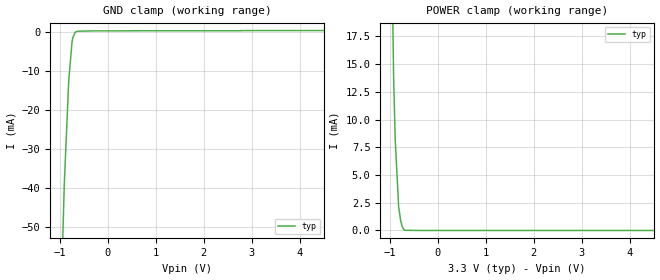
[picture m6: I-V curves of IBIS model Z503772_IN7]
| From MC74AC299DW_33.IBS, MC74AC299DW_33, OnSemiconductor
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| (C) COPYRIGHT 1993-2000
| MENTOR GRAPHICS CORPORATION
| ICX STANDARD LIBRARY, ICX PROJECT MODELING,
| ICX CUSTOM MODELING, ICX VENDOR MODEL
| ALL RIGHTS RESERVED.
| THE FOLLOWING ARE TRADEMARKS OR SERVICE MARKS OF
| MENTOR GRAPHICS CORPORATION:ICX (R), ICX STANDARD
| LIBRARY(R), ICX PROJECT MODELING(R), ICX CUSTOM
| MODELING(R), qualityIBIS(TM), MODELVIEWER(TM),
| AND MODELEDITOR(TM)
| ALL COPIES OF SOFTWARE, INCLUDING BUT NOT LIMITED TO
| ANY MODIFICATIONS, ENHANCEMENTS OR DERIVATIVE WORKS,
| MUST CONTAIN ALL MENTOR GRAPHICS CORPORATION'S
| NOTICES AND LEGENDS, INCLUDING THOSE EMBEDDED IN
| SOFTWARE AND THOSE AFFIXED TO SOFTWARE MEDIUM
| AND CONTAINER, AS RECEIVED FROM MENTOR GRAPHICS
| CORPORATION.
| Model Application Version 1.89 2/18/99.
[Model] Z503772_IN7
Model_type Input
Vinl = 990.0mV
Vinh = 2.310V
C_comp 4.000pF NA NA
| variable typ   min   max
[Voltage Range] 3.300V NA NA
[GND Clamp Reference] 0.000V NA NA
[POWER Clamp Reference] 3.300V NA NA
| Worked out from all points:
|   GND clamp passes 1 mA (typ) near -0.71 V on its own axis
|   POWER clamp passes 1 mA (typ) near -0.78 V on its own axis
[GND Clamp]
-3.3V     -2.074A    NA         NA
-1.045V   -98.41mA   NA         NA
-908.2mV  -39.06mA   NA         NA
-815.4mV  -12.57mA   NA         NA
-747.3mV  -2.74mA    NA         NA
-730.8mV  -1.564mA   NA         NA
-687.5mV  -342.7uA   NA         NA
-667.5mV  -94.58uA   NA         NA
-628mV    92.19uA    NA         NA
-314mV    177.3uA    NA         NA
6.6V      266.6uA    NA         NA
[POWER Clamp]
-3.3V     1.429A     NA         NA
-1.132V   98.67mA    NA         NA
-1.014V   42.11mA    NA         NA
-922mV    13.87mA    NA         NA
-889mV    8.236mA    NA         NA
-817mV    2.133mA    NA         NA
-774mV    845.4uA    NA         NA
-737mV    293.8uA    NA         NA
-698mV    19.1uA     NA         NA
-349mV    0A         NA         NA
6.6V      0A         NA         NA
